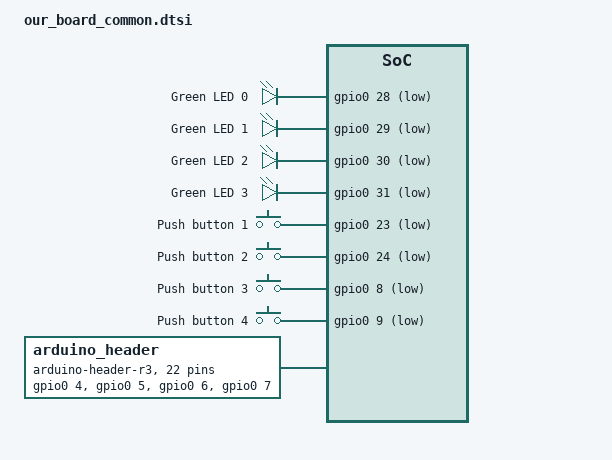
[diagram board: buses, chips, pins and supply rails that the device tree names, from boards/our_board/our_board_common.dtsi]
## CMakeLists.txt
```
cmake_minimum_required(VERSION 3.20.0)

list(APPEND BOARD_ROOT ${CMAKE_CURRENT_SOURCE_DIR})
list(APPEND EXTRA_ZEPHYR_MODULES
    ${CMAKE_CURRENT_SOURCE_DIR}/drivers/our_driver
)

find_package(Zephyr REQUIRED)
project(my_zephyr_app)

zephyr_include_directories(.)
target_sources(app PRIVATE src/main.cpp)
```

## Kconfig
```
menuconfig LED_SUBSYSTEM
    bool "LED subsystem"
    default y
    help
      "Enable the LED subsystem"

if LED_SUBSYSTEM

choice
    prompt "Select the LED blink speed"
    default BLINK_SLEEP_1000_MS

config BLINK_SLEEP_250_MS
    bool "Rapid"

config BLINK_SLEEP_500_MS
    bool "Fast"

config BLINK_SLEEP_1000_MS
    bool "Normal"

config BLINK_SLEEP_2000_MS
    bool "Slow"

endchoice

config BLINK_SLEEP_TIME_MS
    int
    default 250 if BLINK_SLEEP_250_MS
    default 500 if BLINK_SLEEP_500_MS
    default 1000 if BLINK_SLEEP_1000_MS
    default 2000 if BLINK_SLEEP_2000_MS
    default 0
    help
      "The time in milliseconds that the LED will be on and off when blinking."

menuconfig LED_ADVANCED_SETTINGS
    bool "Advanced LED settings"
    default n
    help
      "Enable advanced LED settings"


if LED_ADVANCED_SETTINGS

config LED_BRIGHTNESS
    int "LED brightness"
    default 100
    range 0 100
    help
      "The brightness level of the LED (0-100%)"

config LED_FADE_DURATION_MS
    int "LED fade duration"
    default 500
    range 0 5000
    help
      "The duration in milliseconds for the LED to fade in and out."

menu "Expert settings"
    visible if LED_ADVANCED_SETTINGS

config LED_DEBUGGING
    bool "Enable LED debugging"
    default n
    help
      "Enable additional debug output for LED operations."

config LED_CUSTOM_PATTERN
    bool "Use custom LED pattern"
    default n
    help
      "Enable a custom LED blinking pattern instead of the default on/off pattern."

endmenu

endif # LED_ADVANCED_SETTINGS

endif # LED_SUBSYSTEM


config APP_HEARTBEAT_PERIOD_MS
    int "Heartbeat period (ms)"
    default 500
    range 100 2000
    help
      "The period in milliseconds for the heartbeat LED to toggle."

source "Kconfig.zephyr"
```

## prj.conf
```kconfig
CONFIG_GPIO=y
CONFIG_LOG=y

CONFIG_BLINK_SLEEP_500_MS=y
CONFIG_LED_ADVANCED_SETTINGS=y
CONFIG_LED_BRIGHTNESS=70
CONFIG_LED_FADE_DURATION_MS=100
CONFIG_LED_DEBUGGING=y

CONFIG_APP_HEARTBEAT_PERIOD_MS=1000

CONFIG_SENSOR=y
CONFIG_OUR_DRIVER=y
```

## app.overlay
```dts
/ {
    aliases {
        app-led = &led0;
    };

    our_driver0: our_driver {
        compatible = "our,driver";
        status = "okay";
        led = <&led0>;
    };

    our_driver1: our_driver1 {
        compatible = "our,driver";
        status = "okay";
        led = <&led1>;
    };
};
```

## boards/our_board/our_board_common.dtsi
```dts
#include <zephyr/dt-bindings/gpio/arduino-header-r3.h>

/ {
	leds {
		compatible = "gpio-leds";

		led0: led_0 {
			gpios = <&gpio0 28 GPIO_ACTIVE_LOW>;
			label = "Green LED 0";
		};

		led1: led_1 {
			gpios = <&gpio0 29 GPIO_ACTIVE_LOW>;
			label = "Green LED 1";
		};

		led2: led_2 {
			gpios = <&gpio0 30 GPIO_ACTIVE_LOW>;
			label = "Green LED 2";
		};

		led3: led_3 {
			gpios = <&gpio0 31 GPIO_ACTIVE_LOW>;
			label = "Green LED 3";
		};
	};

	buttons {
		compatible = "gpio-keys";

		button0: button_0 {
			gpios = <&gpio0 23 (GPIO_PULL_UP | GPIO_ACTIVE_LOW)>;
			label = "Push button 1";
			zephyr,code = <INPUT_KEY_0>;
		};

		button1: button_1 {
			gpios = <&gpio0 24 (GPIO_PULL_UP | GPIO_ACTIVE_LOW)>;
			label = "Push button 2";
			zephyr,code = <INPUT_KEY_1>;
		};

		button2: button_2 {
			gpios = <&gpio0 8 (GPIO_PULL_UP | GPIO_ACTIVE_LOW)>;
			label = "Push button 3";
			zephyr,code = <INPUT_KEY_2>;
		};

		button3: button_3 {
			gpios = <&gpio0 9 (GPIO_PULL_UP | GPIO_ACTIVE_LOW)>;
			label = "Push button 4";
			zephyr,code = <INPUT_KEY_3>;
		};
	};

	arduino_header: connector {
		compatible = "arduino-header-r3";
		#gpio-cells = <2>;
		gpio-map-mask = <0xffffffff 0xffffffc0>;
		gpio-map-pass-thru = <0 0x3f>;
		gpio-map = <ARDUINO_HEADER_R3_A0 0 &gpio0 4 0>,
			   <ARDUINO_HEADER_R3_A1 0 &gpio0 5 0>,
			   <ARDUINO_HEADER_R3_A2 0 &gpio0 6 0>,
			   <ARDUINO_HEADER_R3_A3 0 &gpio0 7 0>,
			   <ARDUINO_HEADER_R3_A4 0 &gpio0 25 0>,
			   <ARDUINO_HEADER_R3_A5 0 &gpio0 26 0>,
			   <ARDUINO_HEADER_R3_D0 0 &gpio1 0 0>,
			   <ARDUINO_HEADER_R3_D1 0 &gpio1 1 0>,
			   <ARDUINO_HEADER_R3_D2 0 &gpio1 4 0>,
			   <ARDUINO_HEADER_R3_D3 0 &gpio1 5 0>,
			   <ARDUINO_HEADER_R3_D4 0 &gpio1 6 0>,
			   <ARDUINO_HEADER_R3_D5 0 &gpio1 7 0>,
			   <ARDUINO_HEADER_R3_D6 0 &gpio1 8 0>,
			   <ARDUINO_HEADER_R3_D7 0 &gpio1 9 0>,
			   <ARDUINO_HEADER_R3_D8 0 &gpio1 10 0>,
			   <ARDUINO_HEADER_R3_D9 0 &gpio1 11 0>,
			   <ARDUINO_HEADER_R3_D10 0 &gpio1 12 0>,
			   <ARDUINO_HEADER_R3_D11 0 &gpio1 13 0>,
			   <ARDUINO_HEADER_R3_D12 0 &gpio1 14 0>,
			   <ARDUINO_HEADER_R3_D13 0 &gpio1 15 0>,
			   <ARDUINO_HEADER_R3_D14 0 &gpio1 2 0>,
			   <ARDUINO_HEADER_R3_D15 0 &gpio1 3 0>;
	};

	/* These aliases are provided for compatibility with samples */
	aliases {
		led0 = &led0;
		led1 = &led1;
		led2 = &led2;
		led3 = &led3;
		sw0 = &button0;
		sw1 = &button1;
		sw2 = &button2;
		sw3 = &button3;
		mcuboot-button0 = &button0;
		mcuboot-led0 = &led0;
	};
};
```

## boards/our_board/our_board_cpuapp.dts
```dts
/dts-v1/;
#include <nordic/nrf5340_cpuapp_qkaa.dtsi>
#include "our_board_cpuapp_common.dtsi"

/ {
	model = "Our Board Application";
	compatible = "nordic,nrf5340-dk-nrf5340-cpuapp";

	chosen {
		zephyr,sram = &sram0_image;
		zephyr,flash = &flash0;
		zephyr,code-partition = &slot0_partition;
		zephyr,sram-secure-partition = &sram0_s;
		zephyr,sram-non-secure-partition = &sram0_ns;
		zephyr,boot-mode = &boot_mode0;
	};
};

&gpregret1 {
	status = "okay";

	boot_mode0: boot_mode@0 {
		compatible = "zephyr,retention";
		status = "okay";
		reg = <0x0 0x1>;
	};
};

/* Include default memory partition configuration file */
#include <nordic/nrf5340_cpuapp_partition.dtsi>
```

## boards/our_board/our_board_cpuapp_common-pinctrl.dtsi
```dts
&pinctrl {
	i2c1_default: i2c1_default {
		group1 {
			psels = <NRF_PSEL(TWIM_SDA, 1, 2)>,
				<NRF_PSEL(TWIM_SCL, 1, 3)>;
		};
	};

	i2c1_sleep: i2c1_sleep {
		group1 {
			psels = <NRF_PSEL(TWIM_SDA, 1, 2)>,
				<NRF_PSEL(TWIM_SCL, 1, 3)>;
			low-power-enable;
		};
	};

	uart0_default: uart0_default {
		group1 {
			psels = <NRF_PSEL(UART_TX, 0, 20)>,
				<NRF_PSEL(UART_RTS, 0, 19)>;
		};

		group2 {
			psels = <NRF_PSEL(UART_RX, 0, 22)>,
				<NRF_PSEL(UART_CTS, 0, 21)>;
			bias-pull-up;
		};
	};

	uart0_sleep: uart0_sleep {
		group1 {
			psels = <NRF_PSEL(UART_RX, 0, 22)>,
				<NRF_PSEL(UART_RTS, 0, 19)>,
				<NRF_PSEL(UART_CTS, 0, 21)>;
			low-power-enable;
		};

		group2 {
			psels = <NRF_PSEL(UART_TX, 0, 20)>;
			low-power-enable;
			bias-pull-up;
		};
	};

	pwm0_default: pwm0_default {
		group1 {
			psels = <NRF_PSEL(PWM_OUT0, 0, 28)>;
		};
	};

	pwm0_sleep: pwm0_sleep {
		group1 {
			psels = <NRF_PSEL(PWM_OUT0, 0, 28)>;
			low-power-enable;
		};
	};

	qspi_default: qspi_default {
		group1 {
			psels = <NRF_PSEL(QSPI_SCK, 0, 17)>,
				<NRF_PSEL(QSPI_IO0, 0, 13)>,
				<NRF_PSEL(QSPI_IO1, 0, 14)>,
				<NRF_PSEL(QSPI_IO2, 0, 15)>,
				<NRF_PSEL(QSPI_IO3, 0, 16)>,
				<NRF_PSEL(QSPI_CSN, 0, 18)>;
			nordic,drive-mode = <NRF_DRIVE_H0H1>;
		};
	};

	qspi_sleep: qspi_sleep {
		group1 {
			psels = <NRF_PSEL(QSPI_SCK, 0, 17)>,
				<NRF_PSEL(QSPI_IO0, 0, 13)>,
				<NRF_PSEL(QSPI_IO1, 0, 14)>,
				<NRF_PSEL(QSPI_IO2, 0, 15)>,
				<NRF_PSEL(QSPI_IO3, 0, 16)>;
			low-power-enable;
		};

		group2 {
			psels = <NRF_PSEL(QSPI_CSN, 0, 18)>;
			low-power-enable;
			bias-pull-up;
		};
	};

	uart1_default: uart1_default {
		group1 {
			psels = <NRF_PSEL(UART_TX, 1, 1)>,
				<NRF_PSEL(UART_RTS, 0, 11)>;
		};

		group2 {
			psels = <NRF_PSEL(UART_RX, 1, 0)>,
				<NRF_PSEL(UART_CTS, 0, 10)>;
			bias-pull-up;
		};
	};

	uart1_sleep: uart1_sleep {
		group1 {
			psels = <NRF_PSEL(UART_TX, 1, 1)>,
				<NRF_PSEL(UART_RX, 1, 0)>,
				<NRF_PSEL(UART_RTS, 0, 11)>,
				<NRF_PSEL(UART_CTS, 0, 10)>;
			low-power-enable;
		};
	};

	spi4_default: spi4_default {
		group1 {
			psels = <NRF_PSEL(SPIM_SCK, 1, 15)>,
				<NRF_PSEL(SPIM_MISO, 1, 14)>,
				<NRF_PSEL(SPIM_MOSI, 1, 13)>;
			nordic,drive-mode = <NRF_DRIVE_H0H1>;
		};
	};

	spi4_sleep: spi4_sleep {
		group1 {
			psels = <NRF_PSEL(SPIM_SCK, 1, 15)>,
				<NRF_PSEL(SPIM_MISO, 1, 14)>,
				<NRF_PSEL(SPIM_MOSI, 1, 13)>;
			low-power-enable;
		};
	};
};
```

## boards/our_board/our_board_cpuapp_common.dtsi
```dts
#include "our_board_common.dtsi"
#include "our_board_cpuapp_common-pinctrl.dtsi"
#include <zephyr/dt-bindings/input/input-event-codes.h>

/ {
	chosen {
		zephyr,console = &uart0;
		zephyr,shell-uart = &uart0;
		zephyr,uart-mcumgr = &uart0;
		zephyr,bt-mon-uart = &uart0;
		zephyr,bt-c2h-uart = &uart0;
		zephyr,bt-hci = &bt_hci_ipc0;
		nordic,802154-spinel-ipc = &ipc0;
		zephyr,ieee802154 = &ieee802154;
	};

	pwmleds {
		compatible = "pwm-leds";

		pwm_led0: pwm_led_0 {
			pwms = <&pwm0 0 PWM_MSEC(20) PWM_POLARITY_INVERTED>;
		};
	};

	arduino_adc: analog-connector {
		compatible = "arduino,uno-adc";
		#io-channel-cells = <1>;
		io-channel-map = <0 &adc 0>,	/* A0 = P0.4 = AIN0 */
				 <1 &adc 1>,	/* A1 = P0.5 = AIN1 */
				 <2 &adc 2>,	/* A2 = P0.6 = AIN2 */
				 <3 &adc 3>,	/* A3 = P0.7 = AIN3 */
				 <4 &adc 4>,	/* A4 = P0.25 = AIN4 */
				 <5 &adc 5>;	/* A5 = P0.26 = AIN5 */
	};

	gpio_fwd: nrf-gpio-forwarder {
		compatible = "nordic,nrf-gpio-forwarder";
		status = "okay";

		uart {
			gpios = <&gpio1 1 0>, <&gpio1 0 0>, <&gpio0 11 0>, <&gpio0 10 0>;
		};
	};

	/* These aliases are provided for compatibility with samples */
	aliases {
		pwm-led0 = &pwm_led0;
		watchdog0 = &wdt0;
	};
};

&vregmain {
	regulator-initial-mode = <NRF5X_REG_MODE_DCDC>;
};

&vregradio {
	regulator-initial-mode = <NRF5X_REG_MODE_DCDC>;
};

&vregh {
	status = "okay";
};

&lfxo {
	load-capacitors = "internal";
	load-capacitance-picofarad = <7>;
};

&adc {
	status = "okay";
};

&nfct {
	status = "okay";
};

&gpiote {
	status = "okay";
};

&gpio0 {
	status = "okay";
};

&gpio1 {
	status = "okay";
};

&i2c1 {
	compatible = "nordic,nrf-twim";
	status = "okay";
	pinctrl-0 = <&i2c1_default>;
	pinctrl-1 = <&i2c1_sleep>;
	pinctrl-names = "default", "sleep";
};

&uart0 {
	status = "okay";
	current-speed = <115200>;
	pinctrl-0 = <&uart0_default>;
	pinctrl-1 = <&uart0_sleep>;
	pinctrl-names = "default", "sleep";
};

&pwm0 {
	status = "okay";
	pinctrl-0 = <&pwm0_default>;
	pinctrl-1 = <&pwm0_sleep>;
	pinctrl-names = "default", "sleep";
};

&qspi {
	status = "okay";
	pinctrl-0 = <&qspi_default>;
	pinctrl-1 = <&qspi_sleep>;
	pinctrl-names = "default", "sleep";

	mx25r64: mx25r6435f@0 {
		compatible = "nordic,qspi-nor";
		reg = <0>;
		/* MX25R64 supports only pp and pp4io */
		writeoc = "pp4io";
		/* MX25R64 supports all readoc options */
		readoc = "read4io";
		sck-frequency = <8000000>;
		jedec-id = [c2 28 17];
		sfdp-bfp = [e5 20 f1 ff ff ff ff 03 44 eb 08 6b 08 3b 04 bb
			    ee ff ff ff ff ff 00 ff ff ff 00 ff 0c 20 0f 52
			    10 d8 00 ff 23 72 f5 00 82 ed 04 cc 44 83 68 44
			    30 b0 30 b0 f7 c4 d5 5c 00 be 29 ff f0 d0 ff ff];
		size = <67108864>;
		has-dpd;
		t-enter-dpd = <10000>;
		t-exit-dpd = <35000>;
	};
};

arduino_serial: &uart1 {
	compatible = "nordic,nrf-uarte";
	current-speed = <115200>;
	pinctrl-0 = <&uart1_default>;
	pinctrl-1 = <&uart1_sleep>;
	pinctrl-names = "default", "sleep";
};

arduino_i2c: &i2c1 {};

arduino_spi: &spi4 {
	compatible = "nordic,nrf-spim";
	status = "okay";
	cs-gpios = <&arduino_header 16 GPIO_ACTIVE_LOW>; /* D10 */
	pinctrl-0 = <&spi4_default>;
	pinctrl-1 = <&spi4_sleep>;
	pinctrl-names = "default", "sleep";
};

&ieee802154 {
	status = "okay";
};

zephyr_udc0: &usbd {
	compatible = "nordic,nrf-usbd";
	status = "okay";
};
```

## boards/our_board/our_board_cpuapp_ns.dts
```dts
/dts-v1/;
#include <arm/nordic/nrf5340_cpuapp_ns_qkaa.dtsi>
#include "our_board_cpuapp_common.dtsi"

/ {
	model = "Our Board CPU Application";
	compatible = "iomico,nrf5340-dk-nrf5340-cpuapp";

	chosen {
		zephyr,sram = &sram0_ns_app;
		zephyr,flash = &flash0;
		zephyr,code-partition = &slot0_ns_partition;
	};
};

/* Include default memory partition configuration file */
#include <nordic/nrf5340_cpuapp_ns_partition.dtsi>
```

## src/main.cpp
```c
#include <zephyr/kernel.h>
#include <zephyr/logging/log.h>
#include <zephyr/sys/util.h>

#include "drivers/our_driver/our_driver.h"

LOG_MODULE_REGISTER(main, LOG_LEVEL_INF);

static constexpr bool led_debugging = IS_ENABLED(CONFIG_LED_DEBUGGING);
static constexpr bool led_advanced_settings = IS_ENABLED(CONFIG_LED_ADVANCED_SETTINGS);

static void log_led_settings() {
    if (led_debugging) {
        LOG_INF("LED subsystem enabled");
        LOG_INF("Blink interval: %d ms", CONFIG_APP_HEARTBEAT_PERIOD_MS);
    }

    if (led_advanced_settings) {
        LOG_INF("LED brightness: %d%%", CONFIG_LED_BRIGHTNESS);
        LOG_INF("LED fade duration: %d ms", CONFIG_LED_FADE_DURATION_MS);
    }
}

int main() {
    const struct device* dev = DEVICE_DT_GET_ANY(our_driver);
    if (!device_is_ready(dev)) {
        LOG_ERR("Our driver not ready");
        return -ENODEV;
    }

    log_led_settings();

    while (true) {
        auto ret = sensor_sample_fetch(dev);
        LOG_INF("Sensor sample fetch result: %d", ret);
        k_msleep(CONFIG_APP_HEARTBEAT_PERIOD_MS);

        struct sensor_value val;
        ret = sensor_channel_get(dev, SENSOR_CHAN_ALL, &val);
        LOG_INF("Sensor channel get result: %d", ret);
        k_msleep(CONFIG_APP_HEARTBEAT_PERIOD_MS);

        uint32_t counter = our_driver_increment(dev, 1);
        LOG_INF("Our driver increment result: %u", counter);
    }

    return 0;
}
```
